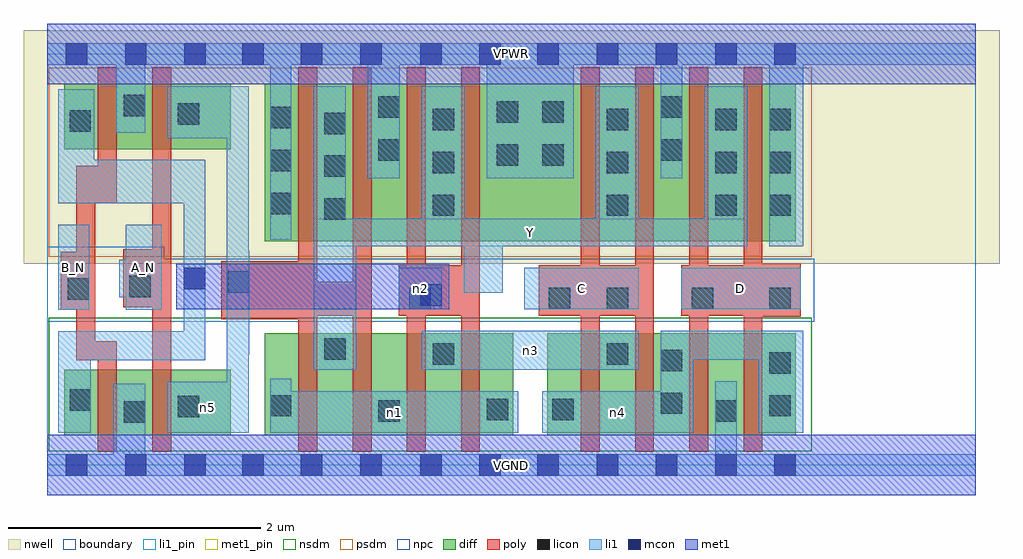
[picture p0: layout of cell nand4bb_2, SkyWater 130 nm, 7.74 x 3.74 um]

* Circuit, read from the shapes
.subckt nand4bb_2 A_N B_N C D VGND VPWR Y n1 n2 n3 n4 n5
XM1 VGND B_N n2 VSUBS sky130_fd_pr__nfet_01v8 w=0.52 l=0.15
XM2 n5 A_N VGND VSUBS sky130_fd_pr__nfet_01v8 w=0.52 l=0.15
XM3 Y n5 n1 VSUBS sky130_fd_pr__nfet_01v8 w=0.81 l=0.15 m=2
XM4 n3 n2 n1 VSUBS sky130_fd_pr__nfet_01v8 w=0.81 l=0.15 m=2
XM5 n3 C n4 VSUBS sky130_fd_pr__nfet_01v8 w=0.81 l=0.15 m=2
XM6 VGND D n4 VSUBS sky130_fd_pr__nfet_01v8 w=0.81 l=0.15 m=2
XM7 VPWR B_N n2 n6 sky130_fd_pr__pfet_01v8 w=0.52 l=0.15
XM8 n5 A_N VPWR n6 sky130_fd_pr__pfet_01v8 w=0.52 l=0.15
XM9 Y n5 VPWR n6 sky130_fd_pr__pfet_01v8 w=1.25 l=0.15 m=2
XM10 Y n2 VPWR n6 sky130_fd_pr__pfet_01v8 w=1.25 l=0.15 m=2
XM11 Y C VPWR n6 sky130_fd_pr__pfet_01v8 w=1.25 l=0.15 m=2
XM12 Y D VPWR n6 sky130_fd_pr__pfet_01v8 w=1.25 l=0.15 m=2
.ends

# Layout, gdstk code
import gdstk
lib = gdstk.Library(unit=1e-6, precision=1e-09)
def R(c, l, rs):  # rectangles x0, y0, x1, y1
    for r in rs: c.add(gdstk.rectangle(r[:2], r[2:], *l))
def A(c, l, x, y, w, h, nx, ny, dx, dy):  # array of equal rectangles
    R(c, l, [(x+i*dx, y+j*dy, x+i*dx+w, y+j*dy+h) for i in range(nx) for j in range(ny)])
nwell = (64, 20)
diff = (65, 20)
poly = (66, 20)
licon = (66, 44)
li1_pin = (67, 16)
li1 = (67, 20)
mcon = (67, 44)
met1_pin = (68, 16)
met1 = (68, 20)
nsdm = (93, 44)
psdm = (94, 20)
npc = (95, 20)
boundary = (235, 4)

nand4bb_2 = lib.new_cell('nand4bb_2')
R(nand4bb_2, nwell, [(-0.19,1.595,7.55,3.45), (0,1.595,7.36,3.45)])
R(nand4bb_2, diff, [(0.135,0.235,1.455,0.755), (1.725,0.235,3.695,1.045), (3.965,0.235,5.935,1.045), (1.725,1.775,5.935,3.025), (0.135,2.505,1.455,3.025)])
A(nand4bb_2, poly, 1.99, 0.105, 0.15, 3.05, 4, 1, 0.43, 0)
A(nand4bb_2, poly, 4.23, 0.105, 0.15, 3.05, 4, 1, 0.43, 0)
R(nand4bb_2, poly, [(0.4,0.105,0.55,0.98), (0.83,0.105,0.98,3.155), (0.23,0.83,0.38,2.375), (0.23,0.83,0.55,0.98), (1.38,1.155,2.14,1.615), (5.52,1.175,5.975,1.595), (1.38,1.185,2.57,1.455), (2.785,1.185,3.43,1.585), (3.895,1.185,4.81,1.585), (5.025,1.185,5.975,1.585), (0.105,1.23,0.38,1.69), (0.6,1.25,0.98,1.71), (0.23,2.075,0.55,2.375), (0.4,2.075,0.55,3.155)])
A(nand4bb_2, licon, 2.195, 1.945, 0.17, 0.17, 1, 3, 0, 0.34)
A(nand4bb_2, licon, 3.055, 1.975, 0.17, 0.17, 1, 3, 0, 0.34)
A(nand4bb_2, licon, 4.435, 1.975, 0.17, 0.17, 1, 3, 0, 0.34)
A(nand4bb_2, licon, 5.295, 1.975, 0.17, 0.17, 1, 3, 0, 0.34)
A(nand4bb_2, licon, 5.725, 1.975, 0.17, 0.17, 1, 3, 0, 0.34)
A(nand4bb_2, licon, 1.765, 1.99, 0.17, 0.17, 1, 3, 0, 0.34)
R(nand4bb_2, licon, [(0.605,0.335,0.775,0.505), (2.625,0.345,2.795,0.515), (5.295,0.345,5.465,0.515), (3.485,0.355,3.655,0.525), (4.005,0.355,4.175,0.525), (1.035,0.38,1.205,0.55), (1.765,0.385,1.935,0.555), (5.725,0.385,5.895,0.555), (4.865,0.405,5.035,0.575), (0.175,0.43,0.345,0.6), (5.725,0.725,5.895,0.895), (4.865,0.745,5.035,0.915), (3.055,0.795,3.225,0.965), (4.435,0.795,4.605,0.965), (2.195,0.835,2.365,1.005), (2.87,1.235,3.04,1.405), (3.975,1.235,4.145,1.405), (4.435,1.235,4.605,1.405), (5.11,1.235,5.28,1.405), (5.725,1.235,5.895,1.405), (0.16,1.31,0.33,1.48), (0.65,1.33,0.82,1.5), (1.43,1.365,1.6,1.535), (3.565,2.375,3.735,2.545), (3.925,2.375,4.095,2.545), (2.625,2.415,2.795,2.585), (4.865,2.415,5.035,2.585), (0.175,2.645,0.345,2.815), (1.035,2.7,1.205,2.87), (3.565,2.715,3.735,2.885), (3.925,2.715,4.095,2.885), (2.625,2.755,2.795,2.925), (4.865,2.755,5.035,2.925), (0.605,2.765,0.775,2.935)])
R(nand4bb_2, li1_pin, [(0.085,1.23,0.33,1.905), (0.62,1.23,0.905,1.905), (3.78,1.235,4.69,1.565), (5.025,1.235,5.975,1.565), (2.11,1.735,5.55,1.955)])
R(nand4bb_2, li1, [(0,-0.085,7.36,0.085), (0.52,-0.085,0.775,0.645), (5.295,-0.085,5.465,0.665), (0.085,0.255,0.345,1.06), (0.95,0.255,1.595,0.66), (1.42,0.255,1.595,3.005), (1.765,0.255,3.735,0.585), (1.765,0.255,1.935,0.685), (3.925,0.255,5.12,0.585), (4.865,0.255,5.12,1.065), (5.64,0.255,5.995,1.065), (2.11,0.755,2.365,3.005), (2.11,0.755,2.45,1.955), (2.97,0.755,4.69,1.065), (0.085,0.83,1.25,1.06), (1.08,0.83,1.25,2.42), (4.865,0.835,5.995,1.065), (1.42,0.875,1.6,1.7), (0.085,1.23,0.33,1.905), (0.62,1.23,0.905,1.905), (2.785,1.235,3.125,1.565), (3.78,1.235,4.69,1.565), (5.025,1.235,5.975,1.565), (0.57,1.33,0.905,1.63), (3.3,1.365,3.61,1.955), (2.11,1.735,5.55,1.955), (2.97,1.735,3.31,3.005), (4.35,1.735,4.69,3.005), (5.21,1.735,5.55,3.005), (5.725,1.735,5.995,3.345), (1.765,1.785,1.935,3.345), (0.085,2.075,1.25,2.42), (0.085,2.075,0.37,2.98), (2.54,2.275,2.795,3.345), (3.485,2.275,4.175,3.345), (4.865,2.275,5.035,3.345), (0.95,2.59,1.595,3.005), (0.545,2.635,0.775,3.345), (0,3.175,7.36,3.345)])
A(nand4bb_2, mcon, 0.145, -0.085, 0.17, 0.17, 3, 2, 0.47, 3.26)
A(nand4bb_2, mcon, 3.885, -0.085, 0.17, 0.17, 5, 2, 0.47, 3.26)
R(nand4bb_2, mcon, [(1.545,-0.085,1.715,0.085), (2.01,-0.085,2.18,0.085), (2.48,-0.085,2.65,0.085), (2.955,-0.085,3.125,0.085), (3.425,-0.085,3.595,0.085), (2.955,1.265,3.125,1.435), (1.08,1.395,1.25,1.565), (1.545,3.175,1.715,3.345), (2.01,3.175,2.18,3.345), (2.48,3.175,2.65,3.345), (2.955,3.175,3.125,3.345), (3.425,3.175,3.595,3.345)])
R(nand4bb_2, met1_pin, [(0,-0.24,7.36,0.24), (0,3.02,7.36,3.5)])
R(nand4bb_2, met1, [(0,-0.24,7.36,0.24), (1.02,1.235,3.185,1.595), (0,3.02,7.36,3.5)])
R(nand4bb_2, nsdm, [(0.01,0.11,6.06,1.17)])
R(nand4bb_2, psdm, [(0.01,1.65,6.06,3.15)])
R(nand4bb_2, npc, [(0,1.135,6.08,1.635), (0,1.135,0.925,1.73)])
R(nand4bb_2, boundary, [(0,0,7.36,3.26)])
nand4bb_2.add(gdstk.Label('A_N', (0.762,1.567), layer=67, texttype=5))
nand4bb_2.add(gdstk.Label('B_N', (0.207,1.567), layer=67, texttype=5))
nand4bb_2.add(gdstk.Label('C', (4.235,1.4), layer=67, texttype=5))
nand4bb_2.add(gdstk.Label('D', (5.5,1.4), layer=67, texttype=5))
nand4bb_2.add(gdstk.Label('Y', (3.83,1.845), layer=67, texttype=5))
nand4bb_2.add(gdstk.Label('n1', (2.75,0.42), layer=67, texttype=5))
nand4bb_2.add(gdstk.Label('n3', (3.83,0.91), layer=67, texttype=5))
nand4bb_2.add(gdstk.Label('n4', (4.522,0.42), layer=67, texttype=5))
nand4bb_2.add(gdstk.Label('n2', (2.955,1.4), layer=67, texttype=5))
nand4bb_2.add(gdstk.Label('n5', (1.272,0.457), layer=67, texttype=5))
nand4bb_2.add(gdstk.Label('VPWR', (3.68,3.26), layer=68, texttype=5))
nand4bb_2.add(gdstk.Label('VGND', (3.68,0), layer=68, texttype=5))
nand4bb_2.add(gdstk.Label('A_N', (0.762,1.567), layer=67, texttype=16))
nand4bb_2.add(gdstk.Label('B_N', (0.207,1.567), layer=67, texttype=16))
nand4bb_2.add(gdstk.Label('C', (4.235,1.4), layer=67, texttype=16))
nand4bb_2.add(gdstk.Label('D', (5.5,1.4), layer=67, texttype=16))
nand4bb_2.add(gdstk.Label('Y', (3.83,1.845), layer=67, texttype=16))
nand4bb_2.add(gdstk.Label('VPWR', (3.68,3.26), layer=68, texttype=16))
nand4bb_2.add(gdstk.Label('VGND', (3.68,0), layer=68, texttype=16))

lib.write_gds('nand4bb_2.gds')
